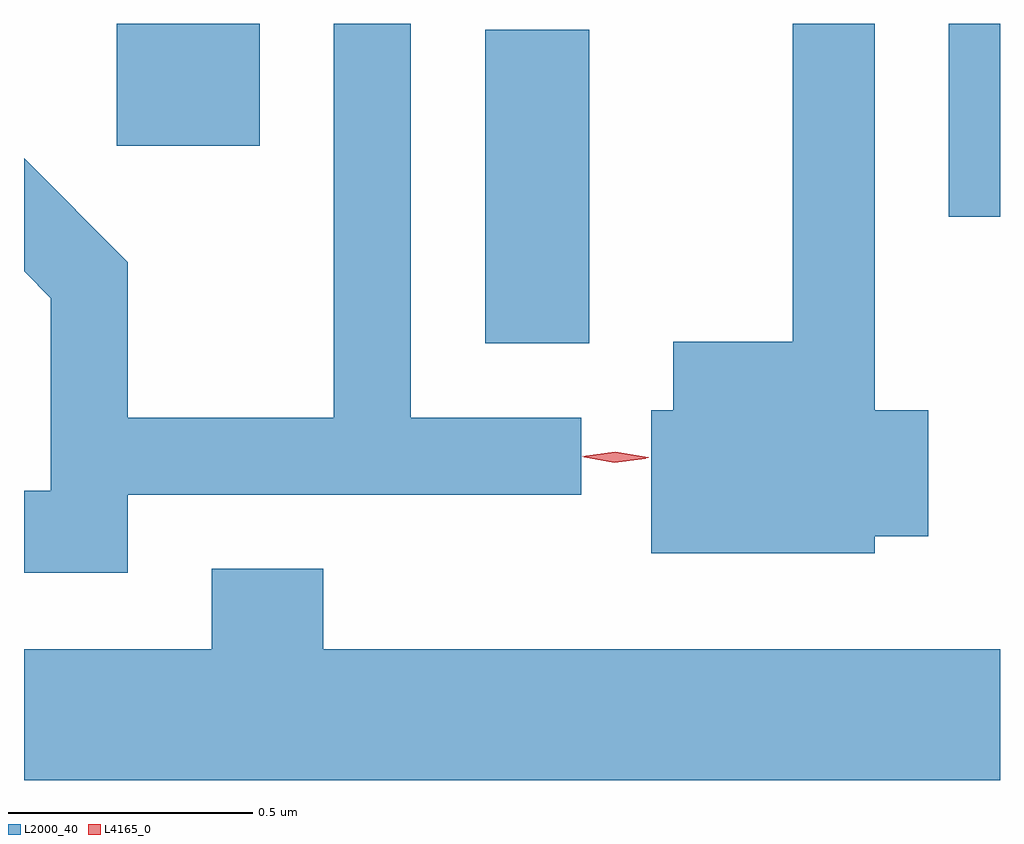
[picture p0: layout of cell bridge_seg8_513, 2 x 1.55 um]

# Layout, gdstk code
import gdstk
lib = gdstk.Library(unit=1e-6, precision=1e-09)
def R(c, l, rs):  # rectangles x0, y0, x1, y1
    for r in rs: c.add(gdstk.rectangle(r[:2], r[2:], *l))
def P(c, l, *ps):  # polygons
    for p in ps: c.add(gdstk.Polygon(p, *l))
L2000_40 = (2000, 40)
L4165_0 = (4165, 0)

bridge_seg8_513 = lib.new_cell('bridge_seg8_513')
R(bridge_seg8_513, L2000_40, [(339.601,1897.251,339.814,1897.894), (340.551,1897.511,340.656,1897.906), (338.846,1897.656,339.139,1897.906)])
P(bridge_seg8_513, L2000_40, [(340.399,1896.856),(340.509,1896.856),(340.509,1897.114),(340.399,1897.114),(340.399,1897.906),(340.231,1897.906),(340.231,1897.254),(339.986,1897.254),(339.986,1897.114),(339.941,1897.114),(339.941,1896.821),(340.399,1896.821)],
  [(338.869,1896.941),(339.798,1896.941),(339.798,1897.099),(339.449,1897.099),(339.449,1897.906),(339.291,1897.906),(339.291,1897.099),(338.869,1897.099),(338.869,1897.417),(338.656,1897.63),(338.656,1897.399),(338.711,1897.344),(338.711,1896.949),(338.656,1896.949),(338.656,1896.781),(338.869,1896.781)],
  [(340.656,1896.624),(339.269,1896.624),(339.269,1896.789),(339.041,1896.789),(339.041,1896.624),(338.656,1896.624),(338.656,1896.356),(340.656,1896.356)])
P(bridge_seg8_513, L4165_0, [(339.868,1897.009),(339.8,1897.02),(339.8,1897.02),(339.8,1897.02),(339.868,1897.029),(339.935,1897.018),(339.936,1897.018),(339.935,1897.017)],
  [(339.866,1897.007),(339.804,1897.018),(339.803,1897.018),(339.804,1897.019),(339.867,1897.027),(339.93,1897.016),(339.93,1897.016),(339.93,1897.015)])

lib.write_gds('bridge_seg8_513.gds')
